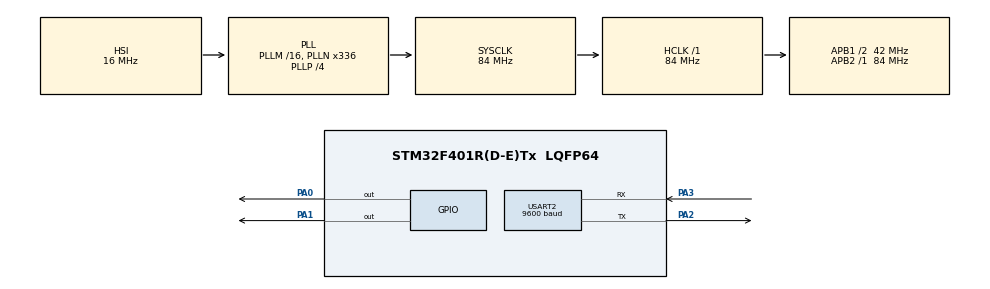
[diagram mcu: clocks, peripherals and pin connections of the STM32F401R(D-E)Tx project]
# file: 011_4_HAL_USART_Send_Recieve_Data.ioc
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Mcu.Family=STM32F4
Mcu.Name=STM32F401R(D-E)Tx
Mcu.Package=LQFP64
NVIC.PriorityGroup=NVIC_PRIORITYGROUP_0
PA0-WKUP.GPIO_Speed=GPIO_SPEED_FREQ_VERY_HIGH
PA0-WKUP.Signal=GPIO_Output
PA1.GPIO_Speed=GPIO_SPEED_FREQ_VERY_HIGH
PA1.Signal=GPIO_Output
PA2.Mode=Asynchronous
PA2.Signal=USART2_TX
PA3.Mode=Asynchronous
PA3.Signal=USART2_RX
ProjectManager.HeapSize=0x200
ProjectManager.StackSize=0x400
ProjectManager.TargetToolchain=STM32CubeIDE
RCC.48MHZClocksFreq_Value=48000000
RCC.AHBFreq_Value=84000000
RCC.APB1CLKDivider=RCC_HCLK_DIV2
RCC.APB1Freq_Value=42000000
RCC.APB1TimFreq_Value=84000000
RCC.APB2Freq_Value=84000000
RCC.APB2TimFreq_Value=84000000
RCC.CortexFreq_Value=84000000
RCC.HCLKFreq_Value=84000000
RCC.HSE_VALUE=8000000
RCC.HSI_VALUE=16000000
RCC.LSE_VALUE=32768
RCC.PLLN=336
RCC.PLLP=RCC_PLLP_DIV4
RCC.PLLQ=7
RCC.SYSCLKFreq_VALUE=84000000
RCC.SYSCLKSource=RCC_SYSCLKSOURCE_PLLCLK
RCC.VCOOutputFreq_Value=336000000
USART2.BaudRate=9600
USART2.VirtualMode=VM_ASYNC
board=NUCLEO-F401RE

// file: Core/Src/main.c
/* USER CODE BEGIN Header */
/**
  ******************************************************************************
  * @file           : main.c
  * @brief          : Main program body
  ******************************************************************************
  * @attention
  *
  * Copyright (c) 2023 STMicroelectronics.
  * All rights reserved.
  *
  * This software is licensed under terms that can be found in the LICENSE file
  * in the root directory of this software component.
  * If no LICENSE file comes with this software, it is provided AS-IS.
  *
  ******************************************************************************
  */
/* USER CODE END Header */
#include "main.h"
#include "stdio.h"
#include "string.h"

UART_HandleTypeDef huart2;

/* USER CODE BEGIN PV */
char rx_buffer[50];
char tx_buffer[50];

/* USER CODE END PV */

void SystemClock_Config(void);
static void MX_GPIO_Init(void);
static void MX_USART2_UART_Init(void);

int main(void)
{

  /* MCU Configuration--------------------------------------------------------*/

  /* Reset of all peripherals, Initializes the Flash interface and the Systick. */
  HAL_Init();

  /* Configure the system clock */
  SystemClock_Config();

  /* Initialize all configured peripherals */
  MX_GPIO_Init();
  MX_USART2_UART_Init();

  /* Infinite loop */
  while (1)
  {

    /* USER CODE BEGIN 3 */
	  HAL_UART_Receive(&huart2, (uint8_t *)rx_buffer,50,100);
	  if(rx_buffer[0] == 'M' && rx_buffer[1] == 'O' && rx_buffer[2] == 'D' &&rx_buffer[3] == '1' )
	  {
		  HAL_GPIO_TogglePin(GPIOA,GPIO_PIN_0|GPIO_PIN_1);
		  HAL_Delay(100);
		  HAL_UART_Transmit(&huart2,(uint8_t *)tx_buffer,sprintf(tx_buffer,"Mod 1 is on"),100);

	  }
	  else if(rx_buffer[0] == 'M' && rx_buffer[1] == 'O' && rx_buffer[2] == 'D' &&rx_buffer[3] == '2' )
	  	  {
	  		  HAL_GPIO_TogglePin(GPIOA,GPIO_PIN_0);
	  		  HAL_GPIO_WritePin(GPIOA,GPIO_PIN_1,GPIO_PIN_RESET);
	  		  HAL_Delay(100);
	  		  HAL_UART_Transmit(&huart2,(uint8_t *)tx_buffer,sprintf(tx_buffer,"Mod 2 is on"),100);

	  	  }
	  else if(rx_buffer[0] == 'M' && rx_buffer[1] == 'O' && rx_buffer[2] == 'D' &&rx_buffer[3] == '3' )
		  	  {
		  		HAL_GPIO_TogglePin(GPIOA,GPIO_PIN_1);
		  	    HAL_GPIO_WritePin(GPIOA,GPIO_PIN_0,GPIO_PIN_RESET);
		  		HAL_Delay(100);
		  		HAL_UART_Transmit(&huart2,(uint8_t *)tx_buffer,sprintf(tx_buffer,"Mod 3 is on"),100);

		  	  }
	  else if(rx_buffer[0] == 'M' && rx_buffer[1] == 'O' && rx_buffer[2] == 'D' && rx_buffer[3] == 'O' &&
			  rx_buffer[4] == 'F'&& rx_buffer[5] == 'F')
			  	  {
			  		HAL_GPIO_WritePin(GPIOA,GPIO_PIN_0|GPIO_PIN_1,GPIO_PIN_RESET);
			  		HAL_UART_Transmit(&huart2,(uint8_t *)tx_buffer,sprintf(tx_buffer,"All led reset"),100);

			  	  }
	  else if(rx_buffer[0] == 'M' && rx_buffer[1] == 'O' && rx_buffer[2] == 'D' && rx_buffer[3] == 'O' &&
	 			  rx_buffer[4] == 'N')
	 			  	  {
	 			  		HAL_GPIO_WritePin(GPIOA,GPIO_PIN_0|GPIO_PIN_1,GPIO_PIN_SET);
	 			  		HAL_UART_Transmit(&huart2,(uint8_t *)tx_buffer,sprintf(tx_buffer,"All led set"),100);

	 			  	  }

  }
  /* USER CODE END 3 */
}

void SystemClock_Config(void)
{
  RCC_OscInitTypeDef RCC_OscInitStruct = {0};
  RCC_ClkInitTypeDef RCC_ClkInitStruct = {0};

  /** Configure the main internal regulator output voltage
  */
  __HAL_RCC_PWR_CLK_ENABLE();
  __HAL_PWR_VOLTAGESCALING_CONFIG(PWR_REGULATOR_VOLTAGE_SCALE2);

  /** Initializes the RCC Oscillators according to the specified parameters
  * in the RCC_OscInitTypeDef structure.
  */
  RCC_OscInitStruct.OscillatorType = RCC_OSCILLATORTYPE_HSI;
  RCC_OscInitStruct.HSIState = RCC_HSI_ON;
  RCC_OscInitStruct.HSICalibrationValue = RCC_HSICALIBRATION_DEFAULT;
  RCC_OscInitStruct.PLL.PLLState = RCC_PLL_ON;
  RCC_OscInitStruct.PLL.PLLSource = RCC_PLLSOURCE_HSI;
  RCC_OscInitStruct.PLL.PLLM = 16;
  RCC_OscInitStruct.PLL.PLLN = 336;
  RCC_OscInitStruct.PLL.PLLP = RCC_PLLP_DIV4;
  RCC_OscInitStruct.PLL.PLLQ = 7;
  if (HAL_RCC_OscConfig(&RCC_OscInitStruct) != HAL_OK)
  {
    Error_Handler();
  }

  /** Initializes the CPU, AHB and APB buses clocks
  */
  RCC_ClkInitStruct.ClockType = RCC_CLOCKTYPE_HCLK|RCC_CLOCKTYPE_SYSCLK
                              |RCC_CLOCKTYPE_PCLK1|RCC_CLOCKTYPE_PCLK2;
  RCC_ClkInitStruct.SYSCLKSource = RCC_SYSCLKSOURCE_PLLCLK;
  RCC_ClkInitStruct.AHBCLKDivider = RCC_SYSCLK_DIV1;
  RCC_ClkInitStruct.APB1CLKDivider = RCC_HCLK_DIV2;
  RCC_ClkInitStruct.APB2CLKDivider = RCC_HCLK_DIV1;

  if (HAL_RCC_ClockConfig(&RCC_ClkInitStruct, FLASH_LATENCY_2) != HAL_OK)
  {
    Error_Handler();
  }
}

static void MX_USART2_UART_Init(void)
{

  huart2.Instance = USART2;
  huart2.Init.BaudRate = 9600;
  huart2.Init.WordLength = UART_WORDLENGTH_8B;
  huart2.Init.StopBits = UART_STOPBITS_1;
  huart2.Init.Parity = UART_PARITY_NONE;
  huart2.Init.Mode = UART_MODE_TX_RX;
  huart2.Init.HwFlowCtl = UART_HWCONTROL_NONE;
  huart2.Init.OverSampling = UART_OVERSAMPLING_16;
  if (HAL_UART_Init(&huart2) != HAL_OK)
  {
    Error_Handler();
  }

}

static void MX_GPIO_Init(void)
{
  GPIO_InitTypeDef GPIO_InitStruct = {0};

  /* GPIO Ports Clock Enable */
  __HAL_RCC_GPIOA_CLK_ENABLE();

  /*Configure GPIO pin Output Level */
  HAL_GPIO_WritePin(GPIOA, GPIO_PIN_0|GPIO_PIN_1, GPIO_PIN_RESET);

  /*Configure GPIO pins : PA0 PA1 */
  GPIO_InitStruct.Pin = GPIO_PIN_0|GPIO_PIN_1;
  GPIO_InitStruct.Mode = GPIO_MODE_OUTPUT_PP;
  GPIO_InitStruct.Pull = GPIO_NOPULL;
  GPIO_InitStruct.Speed = GPIO_SPEED_FREQ_VERY_HIGH;
  HAL_GPIO_Init(GPIOA, &GPIO_InitStruct);

}

void Error_Handler(void)
{
  __disable_irq();
  while (1)
  {
  }
}
